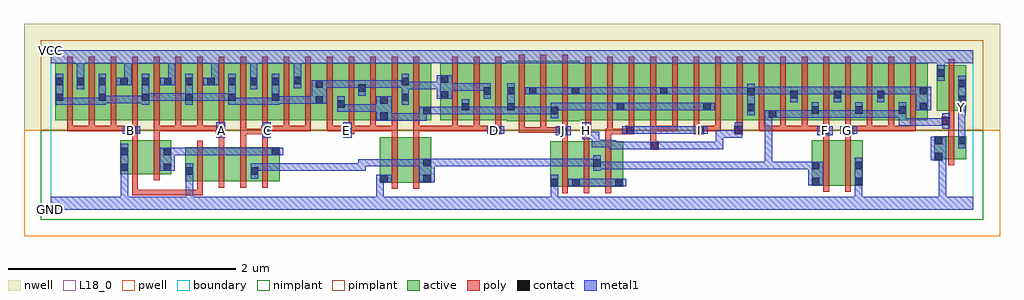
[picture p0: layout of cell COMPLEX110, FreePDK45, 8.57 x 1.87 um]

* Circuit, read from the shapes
.subckt COMPLEX110 A B C D E F G GND H I J VCC Y
M1 n1 B GND VSUBS nfet w=0.3u l=0.05u
M2 n2 A n1 VSUBS nfet w=0.3u l=0.05u
M3 n3 B GND VSUBS nfet w=0.3u l=0.05u
M4 n4 A n3 VSUBS nfet w=0.3u l=0.05u
M5 n5 C n4 VSUBS nfet w=0.3u l=0.05u
M6 n2 C n5 VSUBS nfet w=0.3u l=0.05u
M7 n6 E GND VSUBS nfet w=0.4u l=0.05u
M8 n5 D n6 VSUBS nfet w=0.4u l=0.05u
M9 n7 J GND VSUBS nfet w=0.4u l=0.05u
M10 n5 H n7 VSUBS nfet w=0.4u l=0.05u
M11 n7 I n5 VSUBS nfet w=0.4u l=0.05u
M12 n8 F n5 VSUBS nfet w=0.4u l=0.05u
M13 GND G n8 VSUBS nfet w=0.4u l=0.05u
M14 Y n5 GND VSUBS nfet w=0.2u l=0.05u
M15 VCC B n9 n10 pfet w=0.5u l=0.05u m=4
M16 VCC A n9 n10 pfet w=0.5u l=0.05u m=4
M17 VCC C n9 n10 pfet w=0.5u l=0.05u m=4
M18 n11 E n9 n10 pfet w=0.5u l=0.05u m=4
M19 n11 D n9 n10 pfet w=0.5u l=0.05u m=4
M20 n12 J n11 n10 pfet w=0.532u l=0.05u m=3
M21 n13 H n12 n10 pfet w=0.5u l=0.05u
M22 n11 I n13 n10 pfet w=0.5u l=0.05u
M23 n14 I n11 n10 pfet w=0.5u l=0.05u
M24 n12 H n14 n10 pfet w=0.5u l=0.05u
M25 n15 H n12 n10 pfet w=0.5u l=0.05u
M26 n11 I n15 n10 pfet w=0.5u l=0.05u
M27 n16 I n11 n10 pfet w=0.5u l=0.05u
M28 n12 H n16 n10 pfet w=0.5u l=0.05u
M29 n5 F n12 n10 pfet w=0.5u l=0.05u m=4
M30 n5 G n12 n10 pfet w=0.5u l=0.05u m=4
M31 Y n5 VCC n10 pfet w=0.4u l=0.05u
.ends

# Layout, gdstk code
import gdstk
lib = gdstk.Library(unit=1e-6, precision=1e-09)
def R(c, l, rs):  # rectangles x0, y0, x1, y1
    for r in rs: c.add(gdstk.rectangle(r[:2], r[2:], *l))
def A(c, l, x, y, w, h, nx, ny, dx, dy):  # array of equal rectangles
    R(c, l, [(x+i*dx, y+j*dy, x+i*dx+w, y+j*dy+h) for i in range(nx) for j in range(ny)])
active = (1, 0)
pwell = (2, 0)
nwell = (3, 0)
nimplant = (4, 0)
pimplant = (5, 0)
poly = (9, 0)
contact = (10, 0)
metal1 = (11, 0)
L18_0 = (18, 0)
boundary = (235, 0)

complex110 = lib.new_cell('COMPLEX110')
A(complex110, active, 0.225, 0.787, 0.265, 0.5, 3, 1, 0.19, 0)
A(complex110, active, 1.175, 0.787, 0.27, 0.5, 3, 1, 0.76, 0)
A(complex110, active, 4.815, 0.787, 0.225, 0.5, 3, 1, 0.38, 0)
A(complex110, active, 4.965, 0.787, 0.23, 0.5, 3, 1, 0.38, 0)
A(complex110, active, 6.87, 0.787, 0.265, 0.5, 3, 1, 0.19, 0)
A(complex110, active, 0.415, 0.807, 0.075, 0.393, 5, 1, 0.38, 0)
R(complex110, active, [(4.385,0.2,4.46,0.6), (4.385,0.2,4.65,0.6), (4.575,0.2,4.65,0.492), (4.575,0.2,4.835,0.6), (4.76,0.2,5.025,0.6), (4.95,0.2,5.025,0.492), (6.68,0.212,6.755,0.612), (6.68,0.212,6.905,0.612), (6.905,0.212,7.13,0.612), (7.055,0.212,7.13,0.612), (2.89,0.237,2.965,0.637), (2.89,0.237,3.115,0.637), (3.115,0.237,3.34,0.637), (3.265,0.237,3.34,0.637), (4.76,0.245,4.835,0.492), (1.18,0.25,1.405,0.55), (1.405,0.25,1.595,0.55), (1.595,0.25,1.825,0.55), (1.75,0.25,1.825,0.497), (1.75,0.25,2.01,0.55), (1.18,0.277,1.255,0.55), (0.61,0.312,0.835,0.612), (0.835,0.312,1.06,0.612), (0.985,0.312,1.06,0.612), (1.935,0.33,2.01,0.55), (0.61,0.332,0.685,0.612), (7.757,0.43,7.832,0.645), (7.757,0.445,8.037,0.645), (7.962,0.445,8.037,0.645), (4.005,0.775,4.27,1.307), (4.195,0.775,4.46,1.307), (4.195,0.775,4.27,1.2), (4.385,0.775,4.645,1.307), (4.385,0.775,4.46,1.07), (0.04,0.787,0.115,1.2), (0.04,0.787,0.3,1.287), (0.795,0.787,1.065,1.287), (0.99,0.787,1.25,1.287), (1.37,0.787,1.63,1.287), (1.555,0.787,1.82,1.287), (1.745,0.787,2.01,1.287), (2.13,0.787,2.395,1.287), (2.32,0.787,2.585,1.287), (2.51,0.787,2.77,1.287), (2.89,0.787,3.15,1.287), (2.89,0.787,2.965,1.07), (3.075,0.787,3.34,1.287), (3.265,0.787,3.34,1.07), (3.42,0.787,3.495,1.2), (3.42,0.787,3.68,1.287), (3.605,0.787,3.87,1.287), (3.795,0.787,4.08,1.287), (4.57,0.787,4.815,1.287), (5.955,0.787,6.185,1.287), (6.11,0.787,6.185,1.2), (6.11,0.787,6.375,1.287), (6.3,0.787,6.565,1.287), (6.49,0.787,6.75,1.287), (6.675,0.787,6.945,1.287), (7.44,0.787,7.7,1.287), (7.625,0.787,7.7,1.2), (4.57,0.802,4.645,1.2), (6.3,0.802,6.375,1.07), (6.87,0.802,6.945,1.2), (0.225,0.807,0.3,1.255), (0.605,0.807,0.68,1.255), (0.99,0.807,1.065,1.255), (1.37,0.807,1.445,1.255), (1.745,0.807,1.82,1.255), (2.13,0.807,2.205,1.255), (2.32,0.807,2.395,1.2), (2.51,0.807,2.585,1.07), (2.695,0.807,2.77,1.2), (3.075,0.807,3.15,1.2), (3.605,0.807,3.68,1.07), (3.795,0.807,3.87,1.2), (4.005,0.807,4.08,1.2), (4.965,0.807,5.04,1.07), (5.345,0.807,5.42,1.2), (5.725,0.807,5.8,1.07), (6.49,0.807,6.565,1.2), (6.675,0.807,6.75,1.07), (7.06,0.807,7.135,1.07), (7.25,0.807,7.325,1.2), (7.44,0.807,7.515,1.07), (7.78,0.867,7.855,1.267), (7.78,0.867,8.04,1.267), (7.965,0.867,8.04,1.155)])
R(complex110, pwell, [(-0.235,-0.235,8.335,0.7)])
R(complex110, nwell, [(-0.235,0.7,8.335,1.635)])
R(complex110, nimplant, [(-0.09,-0.09,8.19,0.7)])
R(complex110, pimplant, [(-0.09,0.7,8.19,1.49)])
A(complex110, poly, 4.49, 0.145, 0.05, 0.51, 3, 1, 0.19, 0)
A(complex110, poly, 1.285, 0.195, 0.05, 0.41, 4, 1, 0.19, 0)
A(complex110, poly, 1.475, 0.555, 0.05, 0.157, 3, 1, 0.19, 0)
A(complex110, poly, 4.11, 0.675, 0.05, 0.095, 3, 1, 0.19, 0)
A(complex110, poly, 0.145, 0.687, 0.05, 0.095, 8, 1, 0.19, 0)
A(complex110, poly, 1.855, 0.687, 0.05, 0.095, 8, 1, 0.19, 0)
A(complex110, poly, 3.525, 0.687, 0.05, 0.095, 3, 1, 0.19, 0)
A(complex110, poly, 5.075, 0.687, 0.05, 0.095, 14, 1, 0.19, 0)
A(complex110, poly, 4.11, 0.72, 0.05, 0.642, 3, 1, 0.19, 0)
A(complex110, poly, 0.145, 0.732, 0.05, 0.61, 17, 1, 0.19, 0)
A(complex110, poly, 3.525, 0.732, 0.05, 0.61, 3, 1, 0.19, 0)
A(complex110, poly, 4.695, 0.732, 0.05, 0.61, 16, 1, 0.19, 0)
R(complex110, poly, [(0.715,0.125,0.765,0.175), (0.715,0.125,0.765,0.175), (0.715,0.125,0.765,0.175), (0.715,0.125,1.012,0.175), (0.715,0.125,0.765,0.307), (0.962,0.125,1.012,0.175), (0.962,0.125,1.012,0.175), (0.962,0.125,1.012,0.175), (0.962,0.125,1.202,0.175), (1.152,0.125,1.202,0.175), (1.152,0.125,1.335,0.175), (1.285,0.125,1.335,0.175), (1.285,0.125,1.335,0.175), (1.285,0.125,1.335,0.175), (1.285,0.125,1.335,0.245), (6.785,0.157,6.835,0.667), (6.975,0.157,7.025,0.667), (2.995,0.182,3.045,0.692), (3.185,0.182,3.235,0.692), (0.715,0.257,0.765,0.667), (0.905,0.257,0.955,0.667), (7.882,0.39,7.932,0.7), (5.265,0.525,5.34,0.6), (5.265,0.55,5.315,0.6), (5.265,0.55,5.315,0.6), (5.265,0.55,5.315,0.737), (4.49,0.605,4.54,0.7), (4.68,0.605,4.73,0.7), (4.87,0.605,4.92,0.712), (0.715,0.617,0.765,0.712), (0.905,0.617,0.955,0.737), (6.785,0.617,6.835,0.712), (6.975,0.617,7.025,0.712), (2.995,0.642,3.045,0.737), (3.185,0.642,3.235,0.737), (4.462,0.65,4.54,0.725), (4.67,0.65,4.745,0.725), (7.882,0.65,7.932,0.792), (0.682,0.662,0.765,0.737), (1.45,0.662,1.525,0.737), (1.665,0.662,1.715,0.712), (1.665,0.662,1.715,0.712), (1.665,0.662,1.715,0.712), (1.665,0.662,1.715,0.782), (1.665,0.662,1.9,0.712), (1.85,0.662,1.925,0.737), (2.575,0.662,2.665,0.737), (3.877,0.662,3.955,0.737), (4.87,0.662,4.935,0.712), (4.885,0.662,5.1,0.712), (4.885,0.662,4.935,0.782), (5.05,0.662,5.1,0.712), (5.05,0.662,5.1,0.712), (5.05,0.662,5.125,0.737), (5.645,0.662,5.737,0.737), (6,0.662,6.075,0.737), (6.762,0.662,6.837,0.737), (6.975,0.662,7.05,0.737), (4.11,0.675,4.16,0.725), (4.11,0.675,4.16,0.725), (4.11,0.675,4.16,0.725), (4.11,0.675,4.35,0.725), (4.3,0.675,4.35,0.725), (4.3,0.675,4.35,0.725), (4.3,0.675,4.35,0.725), (4.3,0.675,4.512,0.725), (4.695,0.675,4.745,0.782), (0.145,0.687,0.195,0.737), (0.145,0.687,0.195,0.737), (0.145,0.687,0.195,0.737), (0.145,0.687,0.385,0.737), (0.335,0.687,0.385,0.737), (0.335,0.687,0.385,0.737), (0.335,0.687,0.385,0.737), (0.335,0.687,0.575,0.737), (0.525,0.687,0.575,0.737), (0.525,0.687,0.575,0.737), (0.525,0.687,0.575,0.737), (0.525,0.687,0.732,0.737), (0.905,0.687,0.955,0.737), (0.905,0.687,0.955,0.737), (0.905,0.687,0.955,0.737), (0.905,0.687,1.145,0.737), (1.095,0.687,1.145,0.737), (1.095,0.687,1.145,0.737), (1.095,0.687,1.145,0.737), (1.095,0.687,1.335,0.737), (1.285,0.687,1.335,0.737), (1.285,0.687,1.5,0.737), (1.45,0.687,1.5,0.737), (1.45,0.687,1.5,0.737), (1.875,0.687,2.095,0.737), (2.045,0.687,2.095,0.737), (2.045,0.687,2.095,0.737), (2.045,0.687,2.095,0.737), (2.045,0.687,2.285,0.737), (2.235,0.687,2.285,0.737), (2.235,0.687,2.285,0.737), (2.235,0.687,2.285,0.737), (2.425,0.687,2.475,0.737), (2.425,0.687,2.475,0.737), (2.425,0.687,2.475,0.737), (2.425,0.687,2.625,0.737), (2.615,0.687,2.855,0.737), (2.805,0.687,2.855,0.737), (2.805,0.687,2.855,0.737), (2.805,0.687,2.855,0.737), (2.805,0.687,3.045,0.737), (2.995,0.687,3.045,0.737), (2.995,0.687,3.045,0.737), (2.995,0.687,3.045,0.737), (3.185,0.687,3.235,0.737), (3.185,0.687,3.235,0.737), (3.185,0.687,3.235,0.737), (3.185,0.687,3.575,0.737), (3.525,0.687,3.575,0.737), (3.525,0.687,3.575,0.737), (3.525,0.687,3.575,0.737), (3.525,0.687,3.765,0.737), (3.715,0.687,3.765,0.737), (3.715,0.687,3.765,0.737), (3.715,0.687,3.765,0.737), (3.715,0.687,3.927,0.737), (3.877,0.687,3.927,0.737), (3.877,0.687,3.927,0.737), (5.265,0.687,5.315,0.737), (5.265,0.687,5.505,0.737), (5.455,0.687,5.505,0.737), (5.455,0.687,5.505,0.737), (5.455,0.687,5.505,0.737), (5.687,0.687,5.885,0.737), (5.835,0.687,5.885,0.737), (5.835,0.687,5.885,0.737), (5.835,0.687,5.885,0.737), (6.215,0.687,6.265,0.737), (6.215,0.687,6.265,0.737), (6.215,0.687,6.265,0.737), (6.215,0.687,6.455,0.737), (6.405,0.687,6.455,0.737), (6.405,0.687,6.455,0.737), (6.405,0.687,6.455,0.737), (6.405,0.687,6.645,0.737), (6.595,0.687,6.645,0.737), (6.595,0.687,6.645,0.737), (6.595,0.687,6.645,0.737), (6.595,0.687,6.812,0.737), (7,0.687,7.215,0.737), (7.165,0.687,7.215,0.737), (7.165,0.687,7.215,0.737), (7.165,0.687,7.215,0.737), (7.165,0.687,7.405,0.737), (7.355,0.687,7.405,0.737), (7.355,0.687,7.405,0.737), (7.355,0.687,7.405,0.737), (7.355,0.687,7.595,0.737), (7.545,0.687,7.595,0.737), (7.545,0.687,7.595,0.737), (7.545,0.687,7.595,0.737), (7.825,0.742,7.935,0.817), (7.885,0.767,7.935,0.862), (7.885,0.812,7.935,1.322)])
A(complex110, contact, 0.42, 0.955, 0.065, 0.065, 5, 1, 0.38, 0)
A(complex110, contact, 6.495, 0.98, 0.065, 0.065, 3, 1, 0.38, 0)
A(complex110, contact, 0.23, 1.095, 0.065, 0.065, 4, 1, 0.19, 0)
A(complex110, contact, 1.56, 1.095, 0.065, 0.065, 3, 1, 0.19, 0)
R(complex110, contact, [(4.39,0.205,4.455,0.27), (4.58,0.205,4.645,0.27), (4.955,0.205,5.02,0.27), (6.685,0.217,6.75,0.282), (7.06,0.217,7.125,0.282), (2.895,0.242,2.96,0.307), (3.27,0.242,3.335,0.307), (1.185,0.307,1.25,0.372), (1.755,0.307,1.82,0.372), (0.615,0.34,0.68,0.405), (0.99,0.34,1.055,0.405), (6.685,0.357,6.75,0.422), (7.06,0.357,7.125,0.422), (4.765,0.377,4.83,0.442), (3.27,0.382,3.335,0.447), (7.762,0.435,7.827,0.5), (0.615,0.48,0.68,0.545), (0.99,0.48,1.055,0.545), (1.94,0.48,2.005,0.545), (5.27,0.53,5.335,0.595), (7.762,0.575,7.827,0.64), (7.967,0.575,8.032,0.64), (4.467,0.655,4.532,0.72), (4.675,0.655,4.74,0.72), (0.687,0.667,0.752,0.732), (1.455,0.667,1.52,0.732), (1.855,0.667,1.92,0.732), (2.58,0.667,2.645,0.732), (3.882,0.667,3.947,0.732), (5.055,0.667,5.12,0.732), (5.667,0.667,5.732,0.732), (6.005,0.667,6.07,0.732), (6.767,0.667,6.832,0.732), (6.98,0.667,7.045,0.732), (7.83,0.747,7.895,0.812), (2.895,0.792,2.96,0.857), (6.305,0.807,6.37,0.872), (3.27,0.837,3.335,0.902), (4.39,0.84,4.455,0.905), (6.68,0.842,6.745,0.907), (7.065,0.842,7.13,0.907), (7.445,0.842,7.51,0.907), (6.115,0.865,6.18,0.93), (3.61,0.872,3.675,0.937), (4.01,0.872,4.075,0.937), (4.97,0.875,5.035,0.94), (5.73,0.875,5.795,0.94), (7.63,0.875,7.695,0.94), (2.515,0.897,2.58,0.962), (2.325,0.93,2.39,0.995), (2.895,0.932,2.96,0.997), (7.97,0.937,8.035,1.002), (0.045,0.955,0.11,1.02), (3.08,0.955,3.145,1.02), (3.425,0.975,3.49,1.04), (6.115,1.005,6.18,1.07), (3.8,1.01,3.865,1.075), (4.01,1.012,4.075,1.077), (4.2,1.012,4.265,1.077), (4.575,1.012,4.64,1.077), (5.35,1.012,5.415,1.077), (7.63,1.015,7.695,1.08), (2.7,1.035,2.765,1.1), (2.325,1.07,2.39,1.135), (7.97,1.077,8.035,1.142), (0.045,1.095,0.11,1.16), (0.995,1.095,1.06,1.16), (1.18,1.095,1.245,1.16), (1.375,1.095,1.44,1.16), (3.08,1.095,3.145,1.16), (2.135,1.102,2.2,1.167), (3.425,1.115,3.49,1.18), (7.785,1.167,7.85,1.232)])
A(complex110, metal1, 0.42, 0.92, 0.065, 0.275, 5, 1, 0.38, 0)
A(complex110, metal1, 6.495, 0.945, 0.065, 0.135, 3, 1, 0.38, 0)
R(complex110, metal1, [(0,0,8.1,0.115), (0.615,0.05,0.68,0.115), (0.615,0.05,0.68,0.115), (0.615,0.05,0.68,0.115), (0.615,0.05,0.68,0.115), (0.615,0.05,0.68,0.37), (1.185,0.05,1.25,0.115), (1.185,0.05,1.25,0.115), (1.185,0.05,1.25,0.337), (2.86,0.05,2.925,0.115), (2.86,0.05,2.925,0.115), (2.86,0.05,2.925,0.307), (4.39,0.05,4.455,0.115), (4.39,0.05,4.455,0.115), (4.39,0.05,4.455,0.235), (7.06,0.05,7.125,0.247), (7.797,0.05,7.862,0.115), (7.797,0.05,7.862,0.115), (7.797,0.05,7.862,0.115), (7.797,0.05,7.862,0.115), (7.797,0.05,7.862,0.115), (7.797,0.05,7.862,0.115), (7.797,0.05,7.862,0.5), (4.39,0.17,4.455,0.305), (7.06,0.182,7.125,0.247), (7.06,0.182,7.125,0.247), (7.06,0.182,7.125,0.457), (4.545,0.205,4.68,0.27), (4.615,0.205,4.68,0.27), (4.615,0.205,4.68,0.27), (4.615,0.205,4.817,0.27), (4.752,0.205,4.817,0.27), (4.752,0.205,4.932,0.27), (4.867,0.205,4.932,0.27), (4.867,0.205,4.985,0.27), (4.92,0.205,5.055,0.27), (6.65,0.217,6.785,0.422), (2.86,0.242,2.995,0.307), (3.235,0.242,3.37,0.447), (1.185,0.272,1.25,0.337), (1.185,0.272,1.25,0.337), (1.185,0.272,1.25,0.407), (1.755,0.272,1.82,0.407), (0.615,0.305,0.68,0.58), (0.955,0.34,1.09,0.545), (1.755,0.342,1.957,0.407), (1.892,0.342,1.957,0.407), (1.892,0.342,1.957,0.407), (1.892,0.342,1.957,0.407), (1.892,0.342,2.142,0.407), (2.077,0.342,2.142,0.407), (2.077,0.342,2.142,0.407), (2.077,0.342,2.142,0.407), (2.077,0.342,2.287,0.407), (2.222,0.342,2.287,0.407), (2.222,0.342,2.425,0.407), (2.36,0.342,2.425,0.407), (2.36,0.342,2.425,0.407), (2.36,0.342,2.425,0.407), (2.36,0.342,2.597,0.407), (2.532,0.342,2.597,0.407), (2.532,0.342,2.597,0.407), (2.532,0.342,2.597,0.407), (2.532,0.342,2.765,0.407), (2.7,0.342,2.765,0.407), (2.7,0.342,2.765,0.407), (2.7,0.342,2.765,0.445), (4.765,0.342,4.83,0.477), (4.765,0.357,4.877,0.422), (4.812,0.357,4.877,0.422), (4.812,0.357,5.07,0.422), (5.005,0.357,5.07,0.422), (5.005,0.357,5.07,0.422), (5.005,0.357,5.07,0.422), (5.005,0.357,5.232,0.422), (5.167,0.357,5.232,0.422), (5.167,0.357,5.42,0.422), (5.355,0.357,5.42,0.422), (5.355,0.357,5.42,0.422), (5.355,0.357,5.42,0.422), (5.355,0.357,5.56,0.422), (5.495,0.357,5.56,0.422), (5.495,0.357,5.587,0.422), (5.522,0.357,5.587,0.422), (5.522,0.357,5.725,0.422), (5.66,0.357,5.725,0.422), (5.66,0.357,5.725,0.422), (5.66,0.357,5.725,0.422), (5.66,0.357,5.897,0.422), (5.832,0.357,5.897,0.422), (5.832,0.357,5.897,0.422), (5.832,0.357,5.897,0.422), (5.832,0.357,6.042,0.422), (5.977,0.357,6.042,0.422), (5.977,0.357,6.197,0.422), (6.132,0.357,6.197,0.422), (6.132,0.357,6.197,0.422), (6.132,0.357,6.197,0.422), (6.132,0.357,6.335,0.422), (6.27,0.357,6.335,0.422), (6.27,0.357,6.335,0.422), (6.27,0.357,6.335,0.422), (6.27,0.357,6.56,0.422), (6.27,0.357,6.335,0.872), (6.495,0.357,6.56,0.422), (6.495,0.357,6.56,0.422), (6.495,0.357,6.56,0.422), (6.495,0.357,6.715,0.422), (2.7,0.38,2.902,0.445), (2.837,0.38,2.902,0.445), (2.837,0.38,3.132,0.445), (3.067,0.38,3.132,0.445), (3.067,0.38,3.132,0.445), (3.067,0.38,3.132,0.445), (3.067,0.38,3.3,0.445), (3.235,0.38,3.3,0.445), (3.235,0.38,3.3,0.445), (3.305,0.382,3.537,0.447), (3.472,0.382,3.537,0.447), (3.472,0.382,3.537,0.447), (3.472,0.382,3.537,0.447), (3.472,0.382,3.675,0.447), (3.61,0.382,3.675,0.447), (3.61,0.382,3.675,0.447), (3.61,0.382,3.675,0.447), (3.61,0.382,3.812,0.447), (3.747,0.382,3.812,0.447), (3.747,0.382,3.812,0.447), (3.747,0.382,3.812,0.447), (3.747,0.382,4.075,0.447), (4.01,0.382,4.075,0.447), (4.01,0.382,4.075,0.447), (4.01,0.382,4.075,0.447), (4.01,0.382,4.212,0.447), (4.147,0.382,4.212,0.447), (4.147,0.382,4.212,0.447), (4.147,0.382,4.212,0.447), (4.147,0.382,4.437,0.447), (4.372,0.382,4.437,0.447), (4.372,0.382,4.437,0.447), (4.372,0.382,4.437,0.447), (4.372,0.382,4.592,0.447), (4.527,0.382,4.592,0.447), (4.527,0.382,4.592,0.447), (4.527,0.382,4.592,0.447), (4.527,0.382,4.83,0.447), (7.727,0.435,7.862,0.64), (1.025,0.48,1.09,0.545), (1.025,0.48,1.09,0.545), (1.025,0.48,1.267,0.545), (1.202,0.48,1.267,0.545), (1.202,0.48,1.267,0.545), (1.202,0.48,1.267,0.545), (1.202,0.48,1.405,0.545), (1.34,0.48,1.405,0.545), (1.34,0.48,1.405,0.545), (1.34,0.48,1.405,0.545), (1.34,0.48,1.625,0.545), (1.56,0.48,1.625,0.545), (1.56,0.48,1.762,0.545), (1.697,0.48,1.762,0.545), (1.697,0.48,1.762,0.545), (1.697,0.48,1.762,0.545), (1.697,0.48,1.97,0.545), (1.905,0.48,1.97,0.545), (1.905,0.48,1.97,0.545), (1.905,0.48,2.04,0.545), (4.902,0.53,5.07,0.595), (4.902,0.53,4.967,0.612), (5.005,0.53,5.07,0.595), (5.005,0.53,5.232,0.595), (5.167,0.53,5.232,0.595), (5.167,0.53,5.232,0.595), (5.167,0.53,5.232,0.595), (5.167,0.53,5.3,0.595), (5.235,0.53,5.37,0.595), (5.305,0.53,5.37,0.595), (5.305,0.53,5.37,0.595), (5.305,0.53,5.56,0.595), (5.495,0.53,5.56,0.595), (5.495,0.53,5.587,0.595), (5.522,0.53,5.587,0.595), (5.522,0.53,5.76,0.595), (5.695,0.53,5.76,0.595), (5.695,0.53,5.76,0.595), (5.695,0.53,5.76,0.595), (5.695,0.53,5.905,0.595), (5.84,0.53,5.905,0.595), (5.84,0.53,5.905,0.595), (5.84,0.53,5.905,0.595), (5.84,0.53,5.905,0.595), (5.84,0.53,5.905,0.595), (5.84,0.53,5.905,0.697), (7.967,0.54,8.032,0.675), (4.867,0.547,4.967,0.612), (4.867,0.547,4.932,0.615), (4.752,0.55,4.817,0.615), (4.752,0.55,4.817,0.685), (4.752,0.55,4.932,0.615), (7.967,0.61,8.032,0.897), (4.667,0.62,4.74,0.767), (4.675,0.62,4.817,0.685), (4.752,0.62,4.817,0.685), (2.567,0.63,2.645,0.767), (1.455,0.632,1.532,0.77), (1.855,0.632,1.932,0.77), (5.84,0.632,5.905,0.697), (5.84,0.632,6.07,0.697), (6.005,0.632,6.07,0.767), (4.432,0.655,4.567,0.732), (6.732,0.655,6.867,0.732), (3.832,0.665,3.982,0.732), (0.632,0.667,0.787,0.732), (5.02,0.667,5.155,0.732), (5.09,0.667,5.232,0.732), (5.167,0.667,5.232,0.732), (5.167,0.667,5.42,0.732), (5.355,0.667,5.42,0.732), (5.355,0.667,5.42,0.732), (5.355,0.667,5.42,0.732), (5.355,0.667,5.56,0.732), (5.495,0.667,5.56,0.732), (5.495,0.667,5.587,0.732), (5.522,0.667,5.587,0.732), (5.522,0.667,5.697,0.732), (5.632,0.667,5.767,0.732), (6.932,0.667,7.082,0.735), (7.83,0.712,7.895,0.847), (7.445,0.737,7.51,0.802), (7.445,0.737,7.51,0.872), (7.445,0.737,7.647,0.802), (7.582,0.737,7.647,0.802), (7.582,0.737,7.647,0.802), (7.582,0.737,7.647,0.802), (7.582,0.737,7.895,0.802), (7.83,0.737,7.895,0.802), (7.83,0.737,7.895,0.802), (2.86,0.782,2.995,0.997), (2.93,0.782,3.132,0.847), (3.067,0.782,3.132,0.847), (3.067,0.782,3.132,0.847), (3.067,0.782,3.132,0.847), (3.067,0.782,3.3,0.847), (3.235,0.782,3.3,0.902), (4.39,0.805,4.455,0.94), (6.27,0.807,6.335,0.872), (6.27,0.807,6.335,0.872), (6.27,0.807,6.335,0.872), (6.27,0.807,6.335,0.872), (6.27,0.807,6.335,0.872), (6.27,0.807,6.335,0.872), (6.27,0.807,6.405,0.872), (6.34,0.807,6.405,0.872), (6.34,0.807,6.405,0.872), (6.34,0.807,6.56,0.872), (6.495,0.807,6.56,0.872), (6.495,0.807,6.56,0.872), (6.495,0.807,6.56,0.872), (6.495,0.807,6.745,0.872), (6.68,0.807,6.745,0.872), (6.68,0.807,6.745,0.872), (6.68,0.807,6.745,0.942), (6.68,0.807,6.987,0.872), (6.922,0.807,6.987,0.872), (6.922,0.807,6.987,0.872), (6.922,0.807,6.987,0.872), (6.922,0.807,7.13,0.872), (7.065,0.807,7.13,0.942), (7.065,0.807,7.372,0.872), (7.307,0.807,7.372,0.872), (7.307,0.807,7.372,0.872), (7.307,0.807,7.372,0.872), (7.307,0.807,7.51,0.872), (7.445,0.807,7.51,0.872), (7.445,0.807,7.51,0.872), (7.445,0.807,7.51,0.942), (6.115,0.83,6.18,1.105), (7.967,0.832,8.035,0.967), (3.235,0.837,3.3,0.902), (3.235,0.837,3.37,0.902), (3.305,0.837,3.507,0.902), (3.442,0.837,3.507,0.902), (3.442,0.837,3.507,0.902), (3.442,0.837,3.507,0.902), (3.442,0.837,3.675,0.902), (3.61,0.837,3.675,0.902), (3.61,0.837,3.675,0.902), (3.61,0.837,3.675,0.972), (3.61,0.837,3.937,0.902), (3.872,0.837,3.937,0.902), (3.872,0.837,3.937,0.902), (3.872,0.837,3.937,0.902), (3.872,0.837,4.075,0.902), (4.01,0.837,4.075,0.902), (4.01,0.837,4.075,0.902), (4.01,0.837,4.075,0.902), (4.01,0.837,4.075,0.902), (4.01,0.837,4.075,1.112), (4.01,0.837,4.212,0.902), (4.147,0.837,4.212,0.902), (4.147,0.837,4.212,0.902), (4.147,0.837,4.212,0.902), (4.147,0.837,4.455,0.902), (2.515,0.862,2.58,0.927), (2.515,0.862,2.58,0.927), (2.515,0.862,2.58,0.997), (2.515,0.862,2.735,0.927), (2.67,0.862,2.735,0.927), (2.67,0.862,2.925,0.927), (2.86,0.862,2.925,0.927), (2.86,0.862,2.925,0.927), (4.39,0.875,4.455,0.94), (4.39,0.875,4.455,0.94), (4.39,0.875,4.592,0.94), (4.527,0.875,4.592,0.94), (4.527,0.875,4.592,0.94), (4.527,0.875,4.592,0.94), (4.527,0.875,4.817,0.94), (4.752,0.875,4.817,0.94), (4.752,0.875,4.932,0.94), (4.867,0.875,4.932,0.94), (4.867,0.875,5,0.94), (4.935,0.875,5.07,0.94), (5.005,0.875,5.07,0.94), (5.005,0.875,5.07,0.94), (5.005,0.875,5.232,0.94), (5.167,0.875,5.232,0.94), (5.167,0.875,5.42,0.94), (5.355,0.875,5.42,0.94), (5.355,0.875,5.42,0.94), (5.355,0.875,5.42,0.94), (5.355,0.875,5.557,0.94), (5.492,0.875,5.557,0.94), (5.492,0.875,5.587,0.94), (5.522,0.875,5.587,0.94), (5.522,0.875,5.76,0.94), (5.695,0.875,5.76,0.94), (5.695,0.875,5.76,0.94), (5.695,0.875,5.83,0.94), (7.595,0.875,7.73,1.08), (7.97,0.902,8.035,0.967), (7.97,0.902,8.035,1.177), (0.045,0.92,0.11,0.985), (0.045,0.92,0.11,0.985), (0.045,0.92,0.11,1.195), (0.045,0.92,0.347,0.985), (0.282,0.92,0.347,0.985), (0.282,0.92,0.347,0.985), (0.282,0.92,0.347,0.985), (0.282,0.92,0.485,0.985), (1.56,0.92,1.625,0.985), (1.56,0.92,1.625,0.985), (1.56,0.92,1.82,0.985), (1.755,0.92,1.82,0.985), (1.755,0.92,2.005,0.985), (1.94,0.92,2.005,0.985), (1.94,0.92,2.005,0.985), (3.08,0.92,3.145,1.195), (1.94,0.93,2.142,0.995), (2.077,0.93,2.142,0.995), (2.077,0.93,2.142,0.995), (2.077,0.93,2.142,0.995), (2.077,0.93,2.28,0.995), (2.215,0.93,2.28,0.995), (2.215,0.93,2.355,0.995), (2.29,0.93,2.425,1.135), (0.42,0.935,0.485,1), (0.42,0.935,0.485,1), (0.42,0.935,0.727,1), (0.662,0.935,0.727,1), (0.662,0.935,0.727,1), (0.662,0.935,0.727,1), (0.662,0.935,0.865,1), (0.8,0.957,0.865,1.022), (0.8,0.957,0.865,1.022), (0.8,0.957,1.107,1.022), (1.042,0.957,1.107,1.022), (1.042,0.957,1.107,1.022), (1.042,0.957,1.107,1.022), (1.042,0.957,1.245,1.022), (1.18,0.957,1.245,1.022), (1.18,0.957,1.245,1.022), (1.18,0.957,1.487,1.022), (1.422,0.957,1.487,1.022), (1.422,0.957,1.487,1.022), (1.422,0.957,1.487,1.022), (1.422,0.957,1.625,1.022), (3.39,0.975,3.525,1.18), (3.8,0.975,3.865,1.11), (2.7,1,2.765,1.135), (4.165,1.012,4.3,1.077), (4.235,1.012,4.3,1.077), (4.235,1.012,4.3,1.077), (4.235,1.012,4.452,1.077), (4.387,1.012,4.452,1.077), (4.387,1.012,4.455,1.077), (4.39,1.012,4.455,1.077), (4.39,1.012,4.605,1.077), (4.54,1.012,4.675,1.077), (4.61,1.012,4.675,1.077), (4.61,1.012,4.675,1.077), (4.61,1.012,4.817,1.077), (4.752,1.012,4.817,1.077), (4.752,1.012,4.877,1.077), (4.812,1.012,4.877,1.077), (4.812,1.012,5.07,1.077), (5.005,1.012,5.07,1.077), (5.005,1.012,5.07,1.077), (5.005,1.012,5.07,1.077), (5.005,1.012,5.207,1.077), (5.142,1.012,5.207,1.077), (5.142,1.012,5.38,1.077), (5.315,1.012,5.38,1.077), (5.315,1.012,5.38,1.077), (5.315,1.012,5.45,1.077), (5.385,1.012,5.557,1.077), (5.492,1.012,5.557,1.077), (5.492,1.012,5.587,1.077), (5.522,1.012,5.587,1.077), (5.522,1.012,5.725,1.077), (5.66,1.012,5.725,1.077), (5.66,1.012,5.725,1.077), (5.66,1.012,5.725,1.077), (5.66,1.012,5.905,1.077), (5.84,1.012,5.905,1.077), (5.84,1.012,6.042,1.077), (5.977,1.012,6.042,1.077), (5.977,1.012,6.042,1.077), (5.977,1.012,6.042,1.077), (5.977,1.012,6.18,1.077), (6.115,1.015,6.18,1.08), (6.115,1.015,6.18,1.08), (6.115,1.015,6.422,1.08), (6.357,1.015,6.422,1.08), (6.357,1.015,6.422,1.08), (6.357,1.015,6.422,1.08), (6.357,1.015,6.56,1.08), (6.495,1.015,6.56,1.08), (6.495,1.015,6.56,1.08), (6.495,1.015,6.697,1.08), (6.632,1.015,6.697,1.08), (6.632,1.015,6.697,1.08), (6.632,1.015,6.697,1.08), (6.632,1.015,6.94,1.08), (6.875,1.015,7.045,1.08), (6.98,1.015,7.045,1.08), (6.98,1.015,7.182,1.08), (7.117,1.015,7.182,1.08), (7.117,1.015,7.182,1.08), (7.117,1.015,7.182,1.08), (7.117,1.015,7.32,1.08), (7.255,1.015,7.51,1.08), (7.445,1.015,7.51,1.08), (7.445,1.015,7.51,1.08), (7.445,1.015,7.51,1.08), (7.445,1.015,7.647,1.08), (7.582,1.015,7.647,1.08), (7.582,1.015,7.66,1.08), (3.46,1.045,3.525,1.11), (3.46,1.045,3.525,1.11), (3.46,1.045,3.675,1.11), (3.61,1.045,3.675,1.11), (3.61,1.045,3.675,1.11), (3.61,1.045,3.675,1.11), (3.61,1.045,3.865,1.11), (3.08,1.057,3.317,1.122), (3.252,1.057,3.317,1.122), (3.252,1.057,3.317,1.122), (3.252,1.057,3.317,1.122), (3.252,1.057,3.455,1.122), (0.23,1.06,0.295,1.195), (1.75,1.06,1.815,1.195), (2.135,1.067,2.2,1.202), (2.36,1.07,2.425,1.135), (2.36,1.07,2.425,1.135), (2.36,1.07,2.597,1.135), (2.532,1.07,2.597,1.135), (2.532,1.07,2.597,1.135), (2.532,1.07,2.597,1.135), (2.532,1.07,2.765,1.135), (2.7,1.07,2.765,1.135), (2.7,1.07,2.765,1.135), (2.7,1.07,2.995,1.135), (2.93,1.07,2.995,1.135), (2.93,1.07,3.145,1.135), (3.08,1.07,3.145,1.135), (3.08,1.07,3.145,1.135), (0.575,1.095,0.71,1.16), (0.645,1.095,0.71,1.35), (0.96,1.095,1.095,1.16), (1.03,1.095,1.095,1.35), (1.34,1.095,1.475,1.16), (1.41,1.095,1.475,1.35), (0.23,1.13,0.295,1.35), (1.75,1.13,1.815,1.35), (7.785,1.132,7.85,1.267), (2.135,1.137,2.2,1.35), (7.785,1.202,7.85,1.35), (0,1.285,8.1,1.4)])
R(complex110, L18_0, [(0,0,8.1,0.115), (0.615,0.05,0.68,0.115), (0.615,0.05,0.68,0.115), (0.615,0.05,0.68,0.115), (0.615,0.05,0.68,0.115), (0.615,0.05,0.68,0.37), (1.185,0.05,1.25,0.115), (1.185,0.05,1.25,0.115), (1.185,0.05,1.25,0.337), (2.86,0.05,2.925,0.115), (2.86,0.05,2.925,0.115), (2.86,0.05,2.925,0.307), (4.39,0.05,4.455,0.115), (4.39,0.05,4.455,0.115), (4.39,0.05,4.455,0.235), (7.06,0.05,7.125,0.247), (7.797,0.05,7.862,0.115), (7.797,0.05,7.862,0.115), (7.797,0.05,7.862,0.115), (7.797,0.05,7.862,0.115), (7.797,0.05,7.862,0.115), (7.797,0.05,7.862,0.115), (7.797,0.05,7.862,0.5), (4.39,0.17,4.455,0.305), (7.06,0.182,7.125,0.247), (7.06,0.182,7.125,0.247), (7.06,0.182,7.125,0.457), (2.86,0.242,2.995,0.307), (1.185,0.272,1.25,0.407), (1.185,0.272,1.25,0.337), (1.185,0.272,1.25,0.337), (0.615,0.305,0.68,0.58), (7.727,0.435,7.862,0.64), (4.902,0.53,4.967,0.612), (4.902,0.53,5.07,0.595), (5.005,0.53,5.07,0.595), (5.005,0.53,5.232,0.595), (5.167,0.53,5.232,0.595), (5.167,0.53,5.232,0.595), (5.167,0.53,5.232,0.595), (5.167,0.53,5.3,0.595), (5.235,0.53,5.37,0.595), (5.305,0.53,5.37,0.595), (5.305,0.53,5.37,0.595), (5.305,0.53,5.56,0.595), (5.495,0.53,5.56,0.595), (5.495,0.53,5.587,0.595), (5.522,0.53,5.587,0.595), (5.522,0.53,5.76,0.595), (5.695,0.53,5.76,0.595), (5.695,0.53,5.76,0.595), (5.695,0.53,5.76,0.595), (5.695,0.53,5.905,0.595), (5.84,0.53,5.905,0.595), (5.84,0.53,5.905,0.595), (5.84,0.53,5.905,0.595), (5.84,0.53,5.905,0.595), (5.84,0.53,5.905,0.595), (5.84,0.53,5.905,0.697), (7.967,0.54,8.032,0.675), (4.867,0.547,4.932,0.615), (4.867,0.547,4.967,0.612), (4.752,0.55,4.817,0.685), (4.752,0.55,4.817,0.615), (4.752,0.55,4.932,0.615), (7.967,0.61,8.032,0.897), (4.667,0.62,4.74,0.767), (4.675,0.62,4.817,0.685), (4.752,0.62,4.817,0.685), (2.567,0.63,2.645,0.767), (1.455,0.632,1.532,0.77), (1.855,0.632,1.932,0.77), (5.84,0.632,5.905,0.697), (5.84,0.632,6.07,0.697), (6.005,0.632,6.07,0.767), (4.432,0.655,4.567,0.732), (6.732,0.655,6.867,0.732), (3.832,0.665,3.982,0.732), (0.632,0.667,0.787,0.732), (0.667,0.667,0.732,0.732), (1.467,0.667,1.532,0.732), (1.867,0.667,1.932,0.732), (2.567,0.667,2.632,0.732), (3.867,0.667,3.932,0.732), (4.467,0.667,4.532,0.732), (4.667,0.667,4.732,0.732), (5.02,0.667,5.155,0.732), (5.09,0.667,5.232,0.732), (5.167,0.667,5.232,0.732), (5.167,0.667,5.42,0.732), (5.355,0.667,5.42,0.732), (5.355,0.667,5.42,0.732), (5.355,0.667,5.42,0.732), (5.355,0.667,5.56,0.732), (5.495,0.667,5.56,0.732), (5.495,0.667,5.587,0.732), (5.522,0.667,5.587,0.732), (5.522,0.667,5.697,0.732), (5.632,0.667,5.767,0.732), (5.667,0.667,5.732,0.732), (6.767,0.667,6.832,0.732), (6.932,0.667,7.082,0.735), (6.967,0.667,7.032,0.732), (7.967,0.832,8.035,0.967), (7.967,0.867,8.032,0.932), (7.97,0.902,8.035,0.967), (7.97,0.902,8.035,1.177), (0.23,1.06,0.295,1.195), (1.75,1.06,1.815,1.195), (2.135,1.067,2.2,1.202), (0.575,1.095,0.71,1.16), (0.645,1.095,0.71,1.35), (0.96,1.095,1.095,1.16), (1.03,1.095,1.095,1.35), (1.34,1.095,1.475,1.16), (1.41,1.095,1.475,1.35), (0.23,1.13,0.295,1.35), (1.75,1.13,1.815,1.35), (7.785,1.132,7.85,1.267), (2.135,1.137,2.2,1.35), (7.785,1.202,7.85,1.35), (0,1.285,8.1,1.4)])
R(complex110, boundary, [(0,0,8.1,1.4)])
complex110.add(gdstk.Label('A', (1.5,0.7), layer=11, texttype=0))
complex110.add(gdstk.Label('B', (0.7,0.7), layer=11, texttype=0))
complex110.add(gdstk.Label('C', (1.9,0.7), layer=11, texttype=0))
complex110.add(gdstk.Label('D', (3.9,0.7), layer=11, texttype=0))
complex110.add(gdstk.Label('E', (2.6,0.7), layer=11, texttype=0))
complex110.add(gdstk.Label('F', (6.8,0.7), layer=11, texttype=0))
complex110.add(gdstk.Label('G', (7,0.7), layer=11, texttype=0))
complex110.add(gdstk.Label('H', (4.7,0.7), layer=11, texttype=0))
complex110.add(gdstk.Label('I', (5.7,0.7), layer=11, texttype=0))
complex110.add(gdstk.Label('J', (4.5,0.7), layer=11, texttype=0))
complex110.add(gdstk.Label('Y', (8,0.9), layer=11, texttype=0))
complex110.add(gdstk.Label('VCC', (0,1.4), layer=11, texttype=0))
complex110.add(gdstk.Label('GND', (0,0), layer=11, texttype=0))

lib.write_gds('COMPLEX110.gds')
